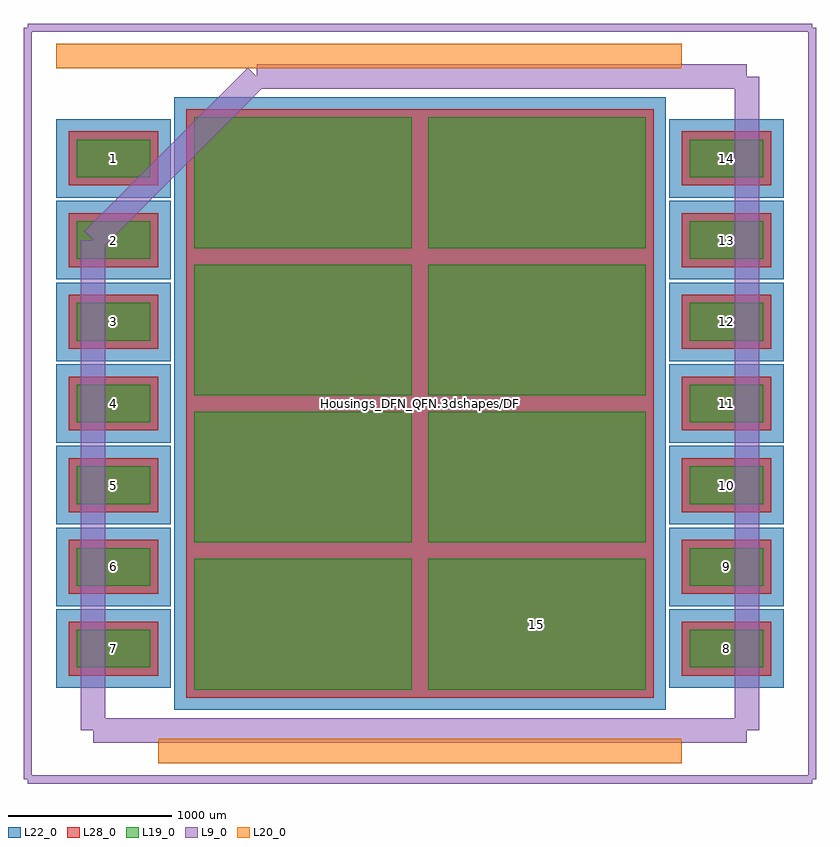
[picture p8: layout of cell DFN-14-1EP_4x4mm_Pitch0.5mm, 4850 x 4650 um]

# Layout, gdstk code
import gdstk
lib = gdstk.Library(unit=1e-6, precision=1e-09)
def R(c, l, rs):  # rectangles x0, y0, x1, y1
    for r in rs: c.add(gdstk.rectangle(r[:2], r[2:], *l))
def A(c, l, x, y, w, h, nx, ny, dx, dy):  # array of equal rectangles
    R(c, l, [(x+i*dx, y+j*dy, x+i*dx+w, y+j*dy+h) for i in range(nx) for j in range(ny)])
L9_0 = (9, 0)
L19_0 = (19, 0)
L20_0 = (20, 0)
L22_0 = (22, 0)
L28_0 = (28, 0)

dfn_14_1ep_4x4mm_pitch0_ = lib.new_cell('DFN-14-1EP_4x4mm_Pitch0.5mm')
A(dfn_14_1ep_4x4mm_pitch0_, L19_0, -1380, -1750, 1330, 800, 1, 4, 0, 900)
A(dfn_14_1ep_4x4mm_pitch0_, L19_0, 50, -1750, 1330, 800, 1, 4, 0, 900)
A(dfn_14_1ep_4x4mm_pitch0_, L19_0, -2100, -1615, 450, 230, 1, 7, 0, 500)
A(dfn_14_1ep_4x4mm_pitch0_, L19_0, 1650, -1615, 450, 230, 1, 7, 0, 500)
A(dfn_14_1ep_4x4mm_pitch0_, L22_0, -1505, -1875, 1580, 1050, 1, 4, 0, 900)
A(dfn_14_1ep_4x4mm_pitch0_, L22_0, -75, -1875, 1580, 1050, 1, 4, 0, 900)
A(dfn_14_1ep_4x4mm_pitch0_, L22_0, -2225, -1740, 700, 480, 1, 7, 0, 500)
A(dfn_14_1ep_4x4mm_pitch0_, L22_0, 1525, -1740, 700, 480, 1, 7, 0, 500)
A(dfn_14_1ep_4x4mm_pitch0_, L28_0, -1430, -1800, 1430, 900, 1, 4, 0, 900)
A(dfn_14_1ep_4x4mm_pitch0_, L28_0, 0, -1800, 1430, 900, 1, 4, 0, 900)
A(dfn_14_1ep_4x4mm_pitch0_, L28_0, -2150, -1665, 550, 330, 1, 7, 0, 500)
A(dfn_14_1ep_4x4mm_pitch0_, L28_0, 1600, -1665, 550, 330, 1, 7, 0, 500)
dfn_14_1ep_4x4mm_pitch0_.add(gdstk.FlexPath([(-2225,2125),(1600,2125)], 149.998, ends="flush", simple_path=True, layer=20, datatype=0))  # L20_0
dfn_14_1ep_4x4mm_pitch0_.add(gdstk.FlexPath([(-1600,-2125),(1600,-2125)], 149.998, ends="flush", simple_path=True, layer=20, datatype=0))  # L20_0
dfn_14_1ep_4x4mm_pitch0_.add(gdstk.FlexPath([(-2400,-2300),(2400,-2300)], 50, ends="flush", simple_path=True, layer=9, datatype=0))  # L9_0
dfn_14_1ep_4x4mm_pitch0_.add(gdstk.FlexPath([(-2400,2300),(2400,2300)], 50, ends="flush", simple_path=True, layer=9, datatype=0))  # L9_0
dfn_14_1ep_4x4mm_pitch0_.add(gdstk.FlexPath([(2400,2300),(2400,-2300)], 50, ends="flush", simple_path=True, layer=9, datatype=0))  # L9_0
dfn_14_1ep_4x4mm_pitch0_.add(gdstk.FlexPath([(-2400,2300),(-2400,-2300)], 50, ends="flush", simple_path=True, layer=9, datatype=0))  # L9_0
dfn_14_1ep_4x4mm_pitch0_.add(gdstk.FlexPath([(-2000,1000),(-1000,2000)], 149.998, ends="flush", simple_path=True, layer=9, datatype=0))  # L9_0
dfn_14_1ep_4x4mm_pitch0_.add(gdstk.FlexPath([(-2000,-2000),(-2000,1000)], 149.998, ends="flush", simple_path=True, layer=9, datatype=0))  # L9_0
dfn_14_1ep_4x4mm_pitch0_.add(gdstk.FlexPath([(2000,-2000),(-2000,-2000)], 149.998, ends="flush", simple_path=True, layer=9, datatype=0))  # L9_0
dfn_14_1ep_4x4mm_pitch0_.add(gdstk.FlexPath([(2000,2000),(2000,-2000)], 149.998, ends="flush", simple_path=True, layer=9, datatype=0))  # L9_0
dfn_14_1ep_4x4mm_pitch0_.add(gdstk.FlexPath([(-1000,2000),(2000,2000)], 149.998, ends="flush", simple_path=True, layer=9, datatype=0))  # L9_0
dfn_14_1ep_4x4mm_pitch0_.add(gdstk.Label('Housings_DFN_QFN.3dshapes/DFN-14-1EP_4x4mm_Pitch0.5mm.wrl', (0,0), layer=12, texttype=0))
dfn_14_1ep_4x4mm_pitch0_.add(gdstk.Label('15', (715,-1350), layer=28, texttype=0))
dfn_14_1ep_4x4mm_pitch0_.add(gdstk.Label('14', (1875,1500), layer=28, texttype=0))
dfn_14_1ep_4x4mm_pitch0_.add(gdstk.Label('13', (1875,1000), layer=28, texttype=0))
dfn_14_1ep_4x4mm_pitch0_.add(gdstk.Label('12', (1875,500), layer=28, texttype=0))
dfn_14_1ep_4x4mm_pitch0_.add(gdstk.Label('11', (1875,0), layer=28, texttype=0))
dfn_14_1ep_4x4mm_pitch0_.add(gdstk.Label('10', (1875,-500), layer=28, texttype=0))
dfn_14_1ep_4x4mm_pitch0_.add(gdstk.Label('9', (1875,-1000), layer=28, texttype=0))
dfn_14_1ep_4x4mm_pitch0_.add(gdstk.Label('8', (1875,-1500), layer=28, texttype=0))
dfn_14_1ep_4x4mm_pitch0_.add(gdstk.Label('7', (-1875,-1500), layer=28, texttype=0))
dfn_14_1ep_4x4mm_pitch0_.add(gdstk.Label('6', (-1875,-1000), layer=28, texttype=0))
dfn_14_1ep_4x4mm_pitch0_.add(gdstk.Label('5', (-1875,-500), layer=28, texttype=0))
dfn_14_1ep_4x4mm_pitch0_.add(gdstk.Label('4', (-1875,0), layer=28, texttype=0))
dfn_14_1ep_4x4mm_pitch0_.add(gdstk.Label('3', (-1875,500), layer=28, texttype=0))
dfn_14_1ep_4x4mm_pitch0_.add(gdstk.Label('2', (-1875,1000), layer=28, texttype=0))
dfn_14_1ep_4x4mm_pitch0_.add(gdstk.Label('1', (-1875,1500), layer=28, texttype=0))
dfn_14_1ep_4x4mm_pitch0_.add(gdstk.Label('type', (0,-3050), layer=9, texttype=0))
dfn_14_1ep_4x4mm_pitch0_.add(gdstk.Label('devicename', (0,3050), layer=9, texttype=0))

lib.write_gds('DFN-14-1EP_4x4mm_Pitch0.5mm.gds')
